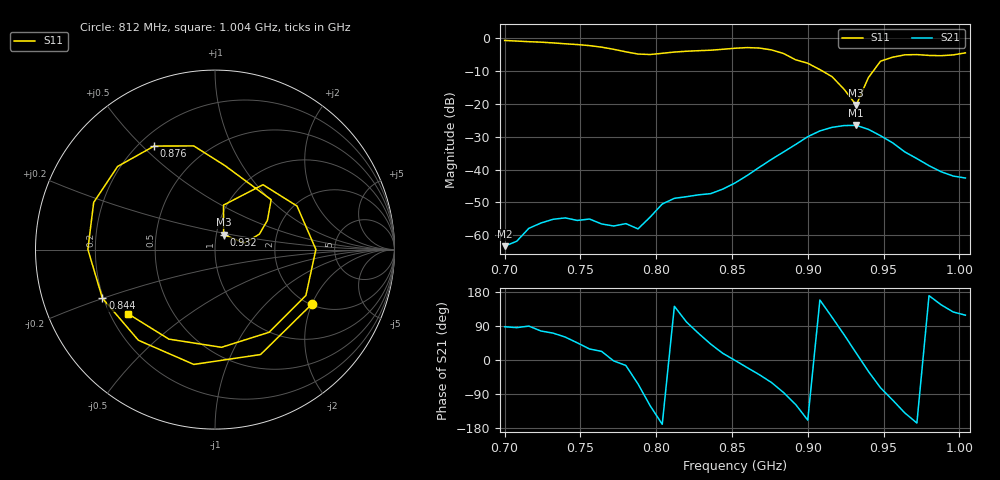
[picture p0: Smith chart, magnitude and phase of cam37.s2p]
# Hz S RI R 50
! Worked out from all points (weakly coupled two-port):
!   39 points, 700 MHz to 1.004 GHz, reference 50 ohm
!   highest |S21| = -26.50 dB at 932 MHz (marker M1); lowest = -63.3 dB at 700 MHz (marker M2)
!   lowest |S11| = -20.3 dB at 932 MHz (marker M3), VSWR 1.21, Z = 54.2 + j9.16 ohm
!   |S11| at or under -10 dB: 909.8 MHz to 943.1 MHz (33.28 MHz wide, 3.59 % of centre)
!   S12 and S22 are empty: the file has one direction only
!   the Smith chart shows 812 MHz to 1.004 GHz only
!   S11 on the Smith chart (normalised r, x): 812 MHz: 2.05, -2.00; 844 MHz: 0.20, -0.20; 876 MHz: 0.26, +0.54; 932 MHz: 1.08, +0.18; 1.004 GHz: 0.27, -0.31
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7e8  0.7672 0.5276  2.62e-05 0.000681  0 0  0 0
7.24e8  0.8386 -0.2569  0.000358 0.00149  0 0  0 0
7.4e8  0.4453 -0.6987  0.000906 0.0016  0 0  0 0
7.56e8  -0.1975 -0.7518  0.00154 0.00086  0 0  0 0
7.72e8  -0.6553 -0.1913  0.00138 -6.07e-05  0 0  0 0
7.8e8  -0.5796 0.2328  0.00146 -0.000375  0 0  0 0
7.88e8  -0.2266 0.5317  0.000564 -0.00112  0 0  0 0
7.96e8  0.2588 0.5061  -0.000959 -0.00163  0 0  0 0
8.04e8  0.5749 0.1461  -0.00294 -0.000536  0 0  0 0
8.12e8  0.5418 -0.3016  -0.00287 0.00226  0 0  0 0
8.28e8  -0.118 -0.6397  0.00141 0.00388  0 0  0 0
8.44e8  -0.6276 -0.2704  0.00482 0.00152  0 0  0 0
8.52e8  -0.7084 0.00134  0.00626 -0.000104  0 0  0 0
8.76e8  -0.3391 0.5769  0.00732 -0.0123  0 0  0 0
9e8  0.3129 0.2781  -0.0296 -0.0116  0 0  0 0
9.08e8  0.2921 0.1632  -0.0361 0.0144  0 0  0 0
9.32e8  0.0479 0.0837  0.045 0.0147  0 0  0 0
9.48e8  0.2673 0.3615  0.00944 -0.0315  0 0  0 0
9.56e8  0.457 0.2428  -0.00692 -0.0247  0 0  0 0
9.64e8  0.5621 0.0011  -0.0142 -0.0121  0 0  0 0
9.8e8  0.3016 -0.4606  -0.0113 0.00203  0 0  0 0
1.004e9  -0.4851 -0.3571  -0.00353 0.00656  0 0  0 0
